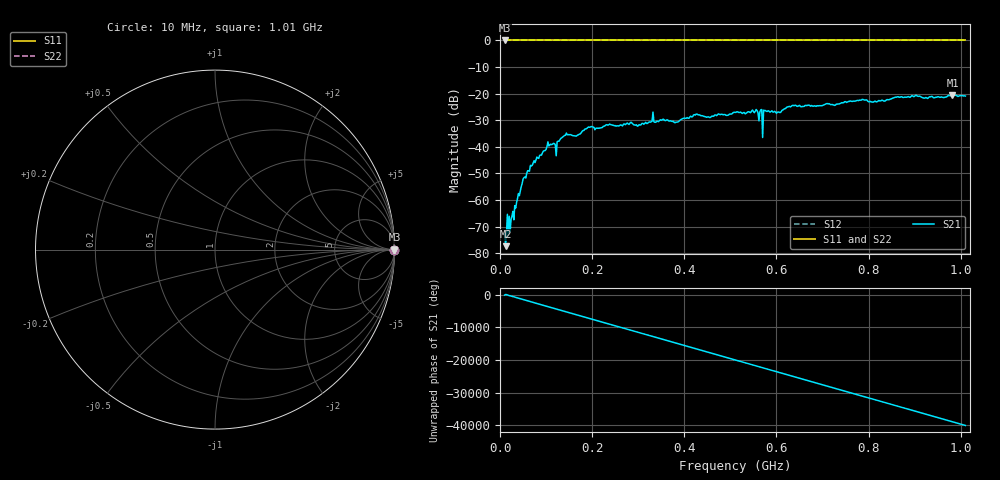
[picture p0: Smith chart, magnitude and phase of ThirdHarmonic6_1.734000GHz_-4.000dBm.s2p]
! 8/16/2025 8:53:21 PM
! C:\ANRITSUVNA\TEMP\TEMP.S2P
! CHANNEL.1
! TR.MEASUREMENT
! RAW.DATA
! RF.CORRECTION.OFF
! AVERAGING.OFF
! IF.BANDWIDTH: 5KHZ
! SWEEPTYPE:  FREQ.SWEEP(Linear)
! Reference Plane Port Info
! PORT:  PORT1  PORT2
! DISTANCE:  0  m  0  m
! TIME:  0  s  0  s
! PHASE.OFFSET:  0  deg.  0  deg.
! LOSS:  0  dB  0  dB
! REF.LOSS:  0  dB  0  dB
! REF.FREQ:  0  Hz  0  Hz
! Power Info
! POWER:  -20  dBm  -20  dBm
! EFF.POWER:  -20  dBm  -20  dBm
! SOURCE.ATTEN:  0  dB  0  dB
! TEST.ATTEN:  0  dB  0  dB
# GHZ S RI R 50.0
! FREQ.GHZ  S11RE  S11IM  S21RE  S21IM  S12RE  S12IM  S22RE  S22IM
!; PortSelection: Port_12
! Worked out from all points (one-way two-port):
!   501 points, 10 MHz to 1.01 GHz, reference 50 ohm
!   highest |S21| = -20.46 dB at 982 MHz (marker M1); lowest = -77.4 dB at 12 MHz (marker M2)
!   lowest |S11| = 0.0 dB at 10 MHz (marker M3)
!   |S11| at or under -10 dB: nowhere
!   |S22| runs from 0.0 to 0.0 dB; largest |S21 - S12| = 1.1
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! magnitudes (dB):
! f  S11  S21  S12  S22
! 10 MHz  0.0  -71.7  0.0  0.0
! 12 MHz  0.0  -77.4  0.0  0.0
! 26 MHz  0.0  -66.0  0.0  0.0
! 50 MHz  0.0  -52.1  0.0  0.0
! 70 MHz  0.0  -46.9  0.0  0.0
! 106 MHz  0.0  -39.7  0.0  0.0
! 118 MHz  0.0  -38.8  0.0  0.0
! 140 MHz  0.0  -35.7  0.0  0.0
! 178 MHz  0.0  -34.2  0.0  0.0
! 196 MHz  0.0  -32.6  0.0  0.0
! 344 MHz  0.0  -30.5  0.0  0.0
! 382 MHz  0.0  -30.7  0.0  0.0
! 510 MHz  0.0  -27.1  0.0  0.0
! 554 MHz  0.0  -26.6  0.0  0.0
! 564 MHz  0.0  -26.8  0.0  0.0
! 566 MHz  0.0  -26.1  0.0  0.0
! 574 MHz  0.0  -26.4  0.0  0.0
! 576 MHz  0.0  -26.4  0.0  0.0
! 678 MHz  0.0  -24.7  0.0  0.0
! 844 MHz  0.0  -22.3  0.0  0.0
! 982 MHz  0.0  -20.5  0.0  0.0
! 1.01 GHz  0.0  -20.9  0.0  0.0
